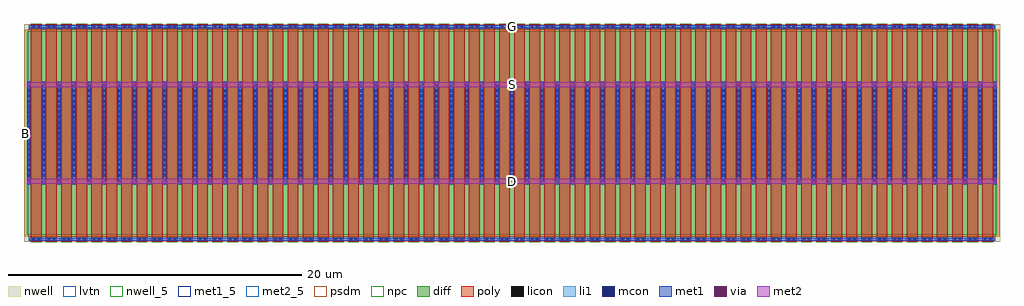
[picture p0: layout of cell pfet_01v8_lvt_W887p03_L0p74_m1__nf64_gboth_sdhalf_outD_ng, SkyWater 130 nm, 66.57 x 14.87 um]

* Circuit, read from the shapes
.subckt pfet_01v8_lvt_W887p03_L0p74_m1__nf64_gboth_sdhalf_outD_ng B D G S
XM1 S G D B sky130_fd_pr__pfet_01v8_lvt w=13.86 l=0.74 m=64
.ends

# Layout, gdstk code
import gdstk
lib = gdstk.Library(unit=1e-6, precision=1e-09)
def R(c, l, rs):  # rectangles x0, y0, x1, y1
    for r in rs: c.add(gdstk.rectangle(r[:2], r[2:], *l))
def A(c, l, x, y, w, h, nx, ny, dx, dy):  # array of equal rectangles
    R(c, l, [(x+i*dx, y+j*dy, x+i*dx+w, y+j*dy+h) for i in range(nx) for j in range(ny)])
nwell_5 = (64, 5)
nwell = (64, 20)
diff = (65, 20)
poly = (66, 20)
licon = (66, 44)
li1 = (67, 20)
mcon = (67, 44)
met1_5 = (68, 5)
met1 = (68, 20)
via = (68, 44)
met2_5 = (69, 5)
met2 = (69, 20)
psdm = (94, 20)
npc = (95, 20)
lvtn = (125, 44)

sky130_fd_pr__pfet_01v8_ = lib.new_cell('sky130_fd_pr__pfet_01v8_lvt_FBBMK9')
R(sky130_fd_pr__pfet_01v8_, nwell, [(-33.285,-7.43,33.285,7.43)])
R(sky130_fd_pr__pfet_01v8_, diff, [(-33.105,-6.93,33.105,6.93)])
A(sky130_fd_pr__pfet_01v8_, poly, -32.815, -7.415, 0.74, 14.83, 64, 1, 1.03, 0)
A(sky130_fd_pr__pfet_01v8_, licon, -33.045, -3.315, 0.17, 0.17, 65, 20, 1.03, 0.34)
R(sky130_fd_pr__pfet_01v8_, licon, [(-32.7,-7.335,-32.53,-7.165), (-32.36,-7.335,-32.19,-7.165), (-31.67,-7.335,-31.5,-7.165), (-31.33,-7.335,-31.16,-7.165), (-30.64,-7.335,-30.47,-7.165), (-30.3,-7.335,-30.13,-7.165), (-29.61,-7.335,-29.44,-7.165), (-29.27,-7.335,-29.1,-7.165), (-28.58,-7.335,-28.41,-7.165), (-28.24,-7.335,-28.07,-7.165), (-27.55,-7.335,-27.38,-7.165), (-27.21,-7.335,-27.04,-7.165), (-26.52,-7.335,-26.35,-7.165), (-26.18,-7.335,-26.01,-7.165), (-25.49,-7.335,-25.32,-7.165), (-25.15,-7.335,-24.98,-7.165), (-24.46,-7.335,-24.29,-7.165), (-24.12,-7.335,-23.95,-7.165), (-23.43,-7.335,-23.26,-7.165), (-23.09,-7.335,-22.92,-7.165), (-22.4,-7.335,-22.23,-7.165), (-22.06,-7.335,-21.89,-7.165), (-21.37,-7.335,-21.2,-7.165), (-21.03,-7.335,-20.86,-7.165), (-20.34,-7.335,-20.17,-7.165), (-20,-7.335,-19.83,-7.165), (-19.31,-7.335,-19.14,-7.165), (-18.97,-7.335,-18.8,-7.165), (-18.28,-7.335,-18.11,-7.165), (-17.94,-7.335,-17.77,-7.165), (-17.25,-7.335,-17.08,-7.165), (-16.91,-7.335,-16.74,-7.165), (-16.22,-7.335,-16.05,-7.165), (-15.88,-7.335,-15.71,-7.165), (-15.19,-7.335,-15.02,-7.165), (-14.85,-7.335,-14.68,-7.165), (-14.16,-7.335,-13.99,-7.165), (-13.82,-7.335,-13.65,-7.165), (-13.13,-7.335,-12.96,-7.165), (-12.79,-7.335,-12.62,-7.165), (-12.1,-7.335,-11.93,-7.165), (-11.76,-7.335,-11.59,-7.165), (-11.07,-7.335,-10.9,-7.165), (-10.73,-7.335,-10.56,-7.165), (-10.04,-7.335,-9.87,-7.165), (-9.7,-7.335,-9.53,-7.165), (-9.01,-7.335,-8.84,-7.165), (-8.67,-7.335,-8.5,-7.165), (-7.98,-7.335,-7.81,-7.165), (-7.64,-7.335,-7.47,-7.165), (-6.95,-7.335,-6.78,-7.165), (-6.61,-7.335,-6.44,-7.165), (-5.92,-7.335,-5.75,-7.165), (-5.58,-7.335,-5.41,-7.165), (-4.89,-7.335,-4.72,-7.165), (-4.55,-7.335,-4.38,-7.165), (-3.86,-7.335,-3.69,-7.165), (-3.52,-7.335,-3.35,-7.165), (-2.83,-7.335,-2.66,-7.165), (-2.49,-7.335,-2.32,-7.165), (-1.8,-7.335,-1.63,-7.165), (-1.46,-7.335,-1.29,-7.165), (-0.77,-7.335,-0.6,-7.165), (-0.43,-7.335,-0.26,-7.165), (0.26,-7.335,0.43,-7.165), (0.6,-7.335,0.77,-7.165), (1.29,-7.335,1.46,-7.165), (1.63,-7.335,1.8,-7.165), (2.32,-7.335,2.49,-7.165), (2.66,-7.335,2.83,-7.165), (3.35,-7.335,3.52,-7.165), (3.69,-7.335,3.86,-7.165), (4.38,-7.335,4.55,-7.165), (4.72,-7.335,4.89,-7.165), (5.41,-7.335,5.58,-7.165), (5.75,-7.335,5.92,-7.165), (6.44,-7.335,6.61,-7.165), (6.78,-7.335,6.95,-7.165), (7.47,-7.335,7.64,-7.165), (7.81,-7.335,7.98,-7.165), (8.5,-7.335,8.67,-7.165), (8.84,-7.335,9.01,-7.165), (9.53,-7.335,9.7,-7.165), (9.87,-7.335,10.04,-7.165), (10.56,-7.335,10.73,-7.165), (10.9,-7.335,11.07,-7.165), (11.59,-7.335,11.76,-7.165), (11.93,-7.335,12.1,-7.165), (12.62,-7.335,12.79,-7.165), (12.96,-7.335,13.13,-7.165), (13.65,-7.335,13.82,-7.165), (13.99,-7.335,14.16,-7.165), (14.68,-7.335,14.85,-7.165), (15.02,-7.335,15.19,-7.165), (15.71,-7.335,15.88,-7.165), (16.05,-7.335,16.22,-7.165), (16.74,-7.335,16.91,-7.165), (17.08,-7.335,17.25,-7.165), (17.77,-7.335,17.94,-7.165), (18.11,-7.335,18.28,-7.165), (18.8,-7.335,18.97,-7.165), (19.14,-7.335,19.31,-7.165), (19.83,-7.335,20,-7.165), (20.17,-7.335,20.34,-7.165), (20.86,-7.335,21.03,-7.165), (21.2,-7.335,21.37,-7.165), (21.89,-7.335,22.06,-7.165), (22.23,-7.335,22.4,-7.165), (22.92,-7.335,23.09,-7.165), (23.26,-7.335,23.43,-7.165), (23.95,-7.335,24.12,-7.165), (24.29,-7.335,24.46,-7.165), (24.98,-7.335,25.15,-7.165), (25.32,-7.335,25.49,-7.165), (26.01,-7.335,26.18,-7.165), (26.35,-7.335,26.52,-7.165), (27.04,-7.335,27.21,-7.165), (27.38,-7.335,27.55,-7.165), (28.07,-7.335,28.24,-7.165), (28.41,-7.335,28.58,-7.165), (29.1,-7.335,29.27,-7.165), (29.44,-7.335,29.61,-7.165), (30.13,-7.335,30.3,-7.165), (30.47,-7.335,30.64,-7.165), (31.16,-7.335,31.33,-7.165), (31.5,-7.335,31.67,-7.165), (32.19,-7.335,32.36,-7.165), (32.53,-7.335,32.7,-7.165), (-32.7,7.165,-32.53,7.335), (-32.36,7.165,-32.19,7.335), (-31.67,7.165,-31.5,7.335), (-31.33,7.165,-31.16,7.335), (-30.64,7.165,-30.47,7.335), (-30.3,7.165,-30.13,7.335), (-29.61,7.165,-29.44,7.335), (-29.27,7.165,-29.1,7.335), (-28.58,7.165,-28.41,7.335), (-28.24,7.165,-28.07,7.335), (-27.55,7.165,-27.38,7.335), (-27.21,7.165,-27.04,7.335), (-26.52,7.165,-26.35,7.335), (-26.18,7.165,-26.01,7.335), (-25.49,7.165,-25.32,7.335), (-25.15,7.165,-24.98,7.335), (-24.46,7.165,-24.29,7.335), (-24.12,7.165,-23.95,7.335), (-23.43,7.165,-23.26,7.335), (-23.09,7.165,-22.92,7.335), (-22.4,7.165,-22.23,7.335), (-22.06,7.165,-21.89,7.335), (-21.37,7.165,-21.2,7.335), (-21.03,7.165,-20.86,7.335), (-20.34,7.165,-20.17,7.335), (-20,7.165,-19.83,7.335), (-19.31,7.165,-19.14,7.335), (-18.97,7.165,-18.8,7.335), (-18.28,7.165,-18.11,7.335), (-17.94,7.165,-17.77,7.335), (-17.25,7.165,-17.08,7.335), (-16.91,7.165,-16.74,7.335), (-16.22,7.165,-16.05,7.335), (-15.88,7.165,-15.71,7.335), (-15.19,7.165,-15.02,7.335), (-14.85,7.165,-14.68,7.335), (-14.16,7.165,-13.99,7.335), (-13.82,7.165,-13.65,7.335), (-13.13,7.165,-12.96,7.335), (-12.79,7.165,-12.62,7.335), (-12.1,7.165,-11.93,7.335), (-11.76,7.165,-11.59,7.335), (-11.07,7.165,-10.9,7.335), (-10.73,7.165,-10.56,7.335), (-10.04,7.165,-9.87,7.335), (-9.7,7.165,-9.53,7.335), (-9.01,7.165,-8.84,7.335), (-8.67,7.165,-8.5,7.335), (-7.98,7.165,-7.81,7.335), (-7.64,7.165,-7.47,7.335), (-6.95,7.165,-6.78,7.335), (-6.61,7.165,-6.44,7.335), (-5.92,7.165,-5.75,7.335), (-5.58,7.165,-5.41,7.335), (-4.89,7.165,-4.72,7.335), (-4.55,7.165,-4.38,7.335), (-3.86,7.165,-3.69,7.335), (-3.52,7.165,-3.35,7.335), (-2.83,7.165,-2.66,7.335), (-2.49,7.165,-2.32,7.335), (-1.8,7.165,-1.63,7.335), (-1.46,7.165,-1.29,7.335), (-0.77,7.165,-0.6,7.335), (-0.43,7.165,-0.26,7.335), (0.26,7.165,0.43,7.335), (0.6,7.165,0.77,7.335), (1.29,7.165,1.46,7.335), (1.63,7.165,1.8,7.335), (2.32,7.165,2.49,7.335), (2.66,7.165,2.83,7.335), (3.35,7.165,3.52,7.335), (3.69,7.165,3.86,7.335), (4.38,7.165,4.55,7.335), (4.72,7.165,4.89,7.335), (5.41,7.165,5.58,7.335), (5.75,7.165,5.92,7.335), (6.44,7.165,6.61,7.335), (6.78,7.165,6.95,7.335), (7.47,7.165,7.64,7.335), (7.81,7.165,7.98,7.335), (8.5,7.165,8.67,7.335), (8.84,7.165,9.01,7.335), (9.53,7.165,9.7,7.335), (9.87,7.165,10.04,7.335), (10.56,7.165,10.73,7.335), (10.9,7.165,11.07,7.335), (11.59,7.165,11.76,7.335), (11.93,7.165,12.1,7.335), (12.62,7.165,12.79,7.335), (12.96,7.165,13.13,7.335), (13.65,7.165,13.82,7.335), (13.99,7.165,14.16,7.335), (14.68,7.165,14.85,7.335), (15.02,7.165,15.19,7.335), (15.71,7.165,15.88,7.335), (16.05,7.165,16.22,7.335), (16.74,7.165,16.91,7.335), (17.08,7.165,17.25,7.335), (17.77,7.165,17.94,7.335), (18.11,7.165,18.28,7.335), (18.8,7.165,18.97,7.335), (19.14,7.165,19.31,7.335), (19.83,7.165,20,7.335), (20.17,7.165,20.34,7.335), (20.86,7.165,21.03,7.335), (21.2,7.165,21.37,7.335), (21.89,7.165,22.06,7.335), (22.23,7.165,22.4,7.335), (22.92,7.165,23.09,7.335), (23.26,7.165,23.43,7.335), (23.95,7.165,24.12,7.335), (24.29,7.165,24.46,7.335), (24.98,7.165,25.15,7.335), (25.32,7.165,25.49,7.335), (26.01,7.165,26.18,7.335), (26.35,7.165,26.52,7.335), (27.04,7.165,27.21,7.335), (27.38,7.165,27.55,7.335), (28.07,7.165,28.24,7.335), (28.41,7.165,28.58,7.335), (29.1,7.165,29.27,7.335), (29.44,7.165,29.61,7.335), (30.13,7.165,30.3,7.335), (30.47,7.165,30.64,7.335), (31.16,7.165,31.33,7.335), (31.5,7.165,31.67,7.335), (32.19,7.165,32.36,7.335), (32.53,7.165,32.7,7.335)])
A(sky130_fd_pr__pfet_01v8_, li1, -33.045, -3.515, 0.17, 7.03, 65, 1, 1.03, 0)
R(sky130_fd_pr__pfet_01v8_, li1, [(-32.96,-7.335,32.96,-7.165), (-32.96,7.165,32.96,7.335)])
A(sky130_fd_pr__pfet_01v8_, mcon, -33.045, -3.325, 0.17, 0.17, 65, 19, 1.03, 0.36)
R(sky130_fd_pr__pfet_01v8_, mcon, [(-32.71,-7.335,-32.54,-7.165), (-32.35,-7.335,-32.18,-7.165), (-31.68,-7.335,-31.51,-7.165), (-31.32,-7.335,-31.15,-7.165), (-30.65,-7.335,-30.48,-7.165), (-30.29,-7.335,-30.12,-7.165), (-29.62,-7.335,-29.45,-7.165), (-29.26,-7.335,-29.09,-7.165), (-28.59,-7.335,-28.42,-7.165), (-28.23,-7.335,-28.06,-7.165), (-27.56,-7.335,-27.39,-7.165), (-27.2,-7.335,-27.03,-7.165), (-26.53,-7.335,-26.36,-7.165), (-26.17,-7.335,-26,-7.165), (-25.5,-7.335,-25.33,-7.165), (-25.14,-7.335,-24.97,-7.165), (-24.47,-7.335,-24.3,-7.165), (-24.11,-7.335,-23.94,-7.165), (-23.44,-7.335,-23.27,-7.165), (-23.08,-7.335,-22.91,-7.165), (-22.41,-7.335,-22.24,-7.165), (-22.05,-7.335,-21.88,-7.165), (-21.38,-7.335,-21.21,-7.165), (-21.02,-7.335,-20.85,-7.165), (-20.35,-7.335,-20.18,-7.165), (-19.99,-7.335,-19.82,-7.165), (-19.32,-7.335,-19.15,-7.165), (-18.96,-7.335,-18.79,-7.165), (-18.29,-7.335,-18.12,-7.165), (-17.93,-7.335,-17.76,-7.165), (-17.26,-7.335,-17.09,-7.165), (-16.9,-7.335,-16.73,-7.165), (-16.23,-7.335,-16.06,-7.165), (-15.87,-7.335,-15.7,-7.165), (-15.2,-7.335,-15.03,-7.165), (-14.84,-7.335,-14.67,-7.165), (-14.17,-7.335,-14,-7.165), (-13.81,-7.335,-13.64,-7.165), (-13.14,-7.335,-12.97,-7.165), (-12.78,-7.335,-12.61,-7.165), (-12.11,-7.335,-11.94,-7.165), (-11.75,-7.335,-11.58,-7.165), (-11.08,-7.335,-10.91,-7.165), (-10.72,-7.335,-10.55,-7.165), (-10.05,-7.335,-9.88,-7.165), (-9.69,-7.335,-9.52,-7.165), (-9.02,-7.335,-8.85,-7.165), (-8.66,-7.335,-8.49,-7.165), (-7.99,-7.335,-7.82,-7.165), (-7.63,-7.335,-7.46,-7.165), (-6.96,-7.335,-6.79,-7.165), (-6.6,-7.335,-6.43,-7.165), (-5.93,-7.335,-5.76,-7.165), (-5.57,-7.335,-5.4,-7.165), (-4.9,-7.335,-4.73,-7.165), (-4.54,-7.335,-4.37,-7.165), (-3.87,-7.335,-3.7,-7.165), (-3.51,-7.335,-3.34,-7.165), (-2.84,-7.335,-2.67,-7.165), (-2.48,-7.335,-2.31,-7.165), (-1.81,-7.335,-1.64,-7.165), (-1.45,-7.335,-1.28,-7.165), (-0.78,-7.335,-0.61,-7.165), (-0.42,-7.335,-0.25,-7.165), (0.25,-7.335,0.42,-7.165), (0.61,-7.335,0.78,-7.165), (1.28,-7.335,1.45,-7.165), (1.64,-7.335,1.81,-7.165), (2.31,-7.335,2.48,-7.165), (2.67,-7.335,2.84,-7.165), (3.34,-7.335,3.51,-7.165), (3.7,-7.335,3.87,-7.165), (4.37,-7.335,4.54,-7.165), (4.73,-7.335,4.9,-7.165), (5.4,-7.335,5.57,-7.165), (5.76,-7.335,5.93,-7.165), (6.43,-7.335,6.6,-7.165), (6.79,-7.335,6.96,-7.165), (7.46,-7.335,7.63,-7.165), (7.82,-7.335,7.99,-7.165), (8.49,-7.335,8.66,-7.165), (8.85,-7.335,9.02,-7.165), (9.52,-7.335,9.69,-7.165), (9.88,-7.335,10.05,-7.165), (10.55,-7.335,10.72,-7.165), (10.91,-7.335,11.08,-7.165), (11.58,-7.335,11.75,-7.165), (11.94,-7.335,12.11,-7.165), (12.61,-7.335,12.78,-7.165), (12.97,-7.335,13.14,-7.165), (13.64,-7.335,13.81,-7.165), (14,-7.335,14.17,-7.165), (14.67,-7.335,14.84,-7.165), (15.03,-7.335,15.2,-7.165), (15.7,-7.335,15.87,-7.165), (16.06,-7.335,16.23,-7.165), (16.73,-7.335,16.9,-7.165), (17.09,-7.335,17.26,-7.165), (17.76,-7.335,17.93,-7.165), (18.12,-7.335,18.29,-7.165), (18.79,-7.335,18.96,-7.165), (19.15,-7.335,19.32,-7.165), (19.82,-7.335,19.99,-7.165), (20.18,-7.335,20.35,-7.165), (20.85,-7.335,21.02,-7.165), (21.21,-7.335,21.38,-7.165), (21.88,-7.335,22.05,-7.165), (22.24,-7.335,22.41,-7.165), (22.91,-7.335,23.08,-7.165), (23.27,-7.335,23.44,-7.165), (23.94,-7.335,24.11,-7.165), (24.3,-7.335,24.47,-7.165), (24.97,-7.335,25.14,-7.165), (25.33,-7.335,25.5,-7.165), (26,-7.335,26.17,-7.165), (26.36,-7.335,26.53,-7.165), (27.03,-7.335,27.2,-7.165), (27.39,-7.335,27.56,-7.165), (28.06,-7.335,28.23,-7.165), (28.42,-7.335,28.59,-7.165), (29.09,-7.335,29.26,-7.165), (29.45,-7.335,29.62,-7.165), (30.12,-7.335,30.29,-7.165), (30.48,-7.335,30.65,-7.165), (31.15,-7.335,31.32,-7.165), (31.51,-7.335,31.68,-7.165), (32.18,-7.335,32.35,-7.165), (32.54,-7.335,32.71,-7.165), (-32.71,7.165,-32.54,7.335), (-32.35,7.165,-32.18,7.335), (-31.68,7.165,-31.51,7.335), (-31.32,7.165,-31.15,7.335), (-30.65,7.165,-30.48,7.335), (-30.29,7.165,-30.12,7.335), (-29.62,7.165,-29.45,7.335), (-29.26,7.165,-29.09,7.335), (-28.59,7.165,-28.42,7.335), (-28.23,7.165,-28.06,7.335), (-27.56,7.165,-27.39,7.335), (-27.2,7.165,-27.03,7.335), (-26.53,7.165,-26.36,7.335), (-26.17,7.165,-26,7.335), (-25.5,7.165,-25.33,7.335), (-25.14,7.165,-24.97,7.335), (-24.47,7.165,-24.3,7.335), (-24.11,7.165,-23.94,7.335), (-23.44,7.165,-23.27,7.335), (-23.08,7.165,-22.91,7.335), (-22.41,7.165,-22.24,7.335), (-22.05,7.165,-21.88,7.335), (-21.38,7.165,-21.21,7.335), (-21.02,7.165,-20.85,7.335), (-20.35,7.165,-20.18,7.335), (-19.99,7.165,-19.82,7.335), (-19.32,7.165,-19.15,7.335), (-18.96,7.165,-18.79,7.335), (-18.29,7.165,-18.12,7.335), (-17.93,7.165,-17.76,7.335), (-17.26,7.165,-17.09,7.335), (-16.9,7.165,-16.73,7.335), (-16.23,7.165,-16.06,7.335), (-15.87,7.165,-15.7,7.335), (-15.2,7.165,-15.03,7.335), (-14.84,7.165,-14.67,7.335), (-14.17,7.165,-14,7.335), (-13.81,7.165,-13.64,7.335), (-13.14,7.165,-12.97,7.335), (-12.78,7.165,-12.61,7.335), (-12.11,7.165,-11.94,7.335), (-11.75,7.165,-11.58,7.335), (-11.08,7.165,-10.91,7.335), (-10.72,7.165,-10.55,7.335), (-10.05,7.165,-9.88,7.335), (-9.69,7.165,-9.52,7.335), (-9.02,7.165,-8.85,7.335), (-8.66,7.165,-8.49,7.335), (-7.99,7.165,-7.82,7.335), (-7.63,7.165,-7.46,7.335), (-6.96,7.165,-6.79,7.335), (-6.6,7.165,-6.43,7.335), (-5.93,7.165,-5.76,7.335), (-5.57,7.165,-5.4,7.335), (-4.9,7.165,-4.73,7.335), (-4.54,7.165,-4.37,7.335), (-3.87,7.165,-3.7,7.335), (-3.51,7.165,-3.34,7.335), (-2.84,7.165,-2.67,7.335), (-2.48,7.165,-2.31,7.335), (-1.81,7.165,-1.64,7.335), (-1.45,7.165,-1.28,7.335), (-0.78,7.165,-0.61,7.335), (-0.42,7.165,-0.25,7.335), (0.25,7.165,0.42,7.335), (0.61,7.165,0.78,7.335), (1.28,7.165,1.45,7.335), (1.64,7.165,1.81,7.335), (2.31,7.165,2.48,7.335), (2.67,7.165,2.84,7.335), (3.34,7.165,3.51,7.335), (3.7,7.165,3.87,7.335), (4.37,7.165,4.54,7.335), (4.73,7.165,4.9,7.335), (5.4,7.165,5.57,7.335), (5.76,7.165,5.93,7.335), (6.43,7.165,6.6,7.335), (6.79,7.165,6.96,7.335), (7.46,7.165,7.63,7.335), (7.82,7.165,7.99,7.335), (8.49,7.165,8.66,7.335), (8.85,7.165,9.02,7.335), (9.52,7.165,9.69,7.335), (9.88,7.165,10.05,7.335), (10.55,7.165,10.72,7.335), (10.91,7.165,11.08,7.335), (11.58,7.165,11.75,7.335), (11.94,7.165,12.11,7.335), (12.61,7.165,12.78,7.335), (12.97,7.165,13.14,7.335), (13.64,7.165,13.81,7.335), (14,7.165,14.17,7.335), (14.67,7.165,14.84,7.335), (15.03,7.165,15.2,7.335), (15.7,7.165,15.87,7.335), (16.06,7.165,16.23,7.335), (16.73,7.165,16.9,7.335), (17.09,7.165,17.26,7.335), (17.76,7.165,17.93,7.335), (18.12,7.165,18.29,7.335), (18.79,7.165,18.96,7.335), (19.15,7.165,19.32,7.335), (19.82,7.165,19.99,7.335), (20.18,7.165,20.35,7.335), (20.85,7.165,21.02,7.335), (21.21,7.165,21.38,7.335), (21.88,7.165,22.05,7.335), (22.24,7.165,22.41,7.335), (22.91,7.165,23.08,7.335), (23.27,7.165,23.44,7.335), (23.94,7.165,24.11,7.335), (24.3,7.165,24.47,7.335), (24.97,7.165,25.14,7.335), (25.33,7.165,25.5,7.335), (26,7.165,26.17,7.335), (26.36,7.165,26.53,7.335), (27.03,7.165,27.2,7.335), (27.39,7.165,27.56,7.335), (28.06,7.165,28.23,7.335), (28.42,7.165,28.59,7.335), (29.09,7.165,29.26,7.335), (29.45,7.165,29.62,7.335), (30.12,7.165,30.29,7.335), (30.48,7.165,30.65,7.335), (31.15,7.165,31.32,7.335), (31.51,7.165,31.68,7.335), (32.18,7.165,32.35,7.335), (32.54,7.165,32.71,7.335)])
A(sky130_fd_pr__pfet_01v8_, met1, -32.795, -7.365, 0.7, 0.03, 64, 2, 1.03, 0.2)
A(sky130_fd_pr__pfet_01v8_, met1, -33.075, -3.495, 0.23, 6.99, 65, 1, 1.03, 0)
A(sky130_fd_pr__pfet_01v8_, met1, -32.795, 7.135, 0.7, 0.03, 64, 2, 1.03, 0.2)
R(sky130_fd_pr__pfet_01v8_, met1, [(-32.96,-7.335,32.96,-7.165), (-32.96,7.165,32.96,7.335)])
R(sky130_fd_pr__pfet_01v8_, psdm, [(-33.23,-7.055,33.23,7.055)])
A(sky130_fd_pr__pfet_01v8_, npc, -32.8, -7.435, 0.71, 0.37, 64, 2, 1.03, 14.5)
R(sky130_fd_pr__pfet_01v8_, lvtn, [(-32.995,-7.11,32.995,7.11)])
sky130_fd_pr__pfet_01v8_.add(gdstk.Label('D0', (-32.96,0), layer=67, texttype=5))
sky130_fd_pr__pfet_01v8_.add(gdstk.Label('G', (32.445,7.25), layer=67, texttype=5))
sky130_fd_pr__pfet_01v8_.add(gdstk.Label('G', (31.415,7.25), layer=67, texttype=5))
sky130_fd_pr__pfet_01v8_.add(gdstk.Label('G', (30.385,7.25), layer=67, texttype=5))
sky130_fd_pr__pfet_01v8_.add(gdstk.Label('G', (29.355,7.25), layer=67, texttype=5))
sky130_fd_pr__pfet_01v8_.add(gdstk.Label('G', (28.325,7.25), layer=67, texttype=5))
sky130_fd_pr__pfet_01v8_.add(gdstk.Label('G', (27.295,7.25), layer=67, texttype=5))
sky130_fd_pr__pfet_01v8_.add(gdstk.Label('G', (26.265,7.25), layer=67, texttype=5))
sky130_fd_pr__pfet_01v8_.add(gdstk.Label('G', (25.235,7.25), layer=67, texttype=5))
sky130_fd_pr__pfet_01v8_.add(gdstk.Label('G', (24.205,7.25), layer=67, texttype=5))
sky130_fd_pr__pfet_01v8_.add(gdstk.Label('G', (23.175,7.25), layer=67, texttype=5))
sky130_fd_pr__pfet_01v8_.add(gdstk.Label('G', (22.145,7.25), layer=67, texttype=5))
sky130_fd_pr__pfet_01v8_.add(gdstk.Label('G', (21.115,7.25), layer=67, texttype=5))
sky130_fd_pr__pfet_01v8_.add(gdstk.Label('G', (20.085,7.25), layer=67, texttype=5))
sky130_fd_pr__pfet_01v8_.add(gdstk.Label('G', (19.055,7.25), layer=67, texttype=5))
sky130_fd_pr__pfet_01v8_.add(gdstk.Label('G', (18.025,7.25), layer=67, texttype=5))
sky130_fd_pr__pfet_01v8_.add(gdstk.Label('G', (16.995,7.25), layer=67, texttype=5))
sky130_fd_pr__pfet_01v8_.add(gdstk.Label('G', (15.965,7.25), layer=67, texttype=5))
sky130_fd_pr__pfet_01v8_.add(gdstk.Label('G', (14.935,7.25), layer=67, texttype=5))
sky130_fd_pr__pfet_01v8_.add(gdstk.Label('G', (13.905,7.25), layer=67, texttype=5))
sky130_fd_pr__pfet_01v8_.add(gdstk.Label('G', (12.875,7.25), layer=67, texttype=5))
sky130_fd_pr__pfet_01v8_.add(gdstk.Label('G', (11.845,7.25), layer=67, texttype=5))
sky130_fd_pr__pfet_01v8_.add(gdstk.Label('G', (10.815,7.25), layer=67, texttype=5))
sky130_fd_pr__pfet_01v8_.add(gdstk.Label('G', (9.785,7.25), layer=67, texttype=5))
sky130_fd_pr__pfet_01v8_.add(gdstk.Label('G', (8.755,7.25), layer=67, texttype=5))
sky130_fd_pr__pfet_01v8_.add(gdstk.Label('G', (7.725,7.25), layer=67, texttype=5))
sky130_fd_pr__pfet_01v8_.add(gdstk.Label('G', (6.695,7.25), layer=67, texttype=5))
sky130_fd_pr__pfet_01v8_.add(gdstk.Label('G', (5.665,7.25), layer=67, texttype=5))
sky130_fd_pr__pfet_01v8_.add(gdstk.Label('G', (4.635,7.25), layer=67, texttype=5))
sky130_fd_pr__pfet_01v8_.add(gdstk.Label('G', (3.605,7.25), layer=67, texttype=5))
sky130_fd_pr__pfet_01v8_.add(gdstk.Label('G', (2.575,7.25), layer=67, texttype=5))
sky130_fd_pr__pfet_01v8_.add(gdstk.Label('G', (1.545,7.25), layer=67, texttype=5))
sky130_fd_pr__pfet_01v8_.add(gdstk.Label('G', (0.515,7.25), layer=67, texttype=5))
sky130_fd_pr__pfet_01v8_.add(gdstk.Label('G', (-0.515,7.25), layer=67, texttype=5))
sky130_fd_pr__pfet_01v8_.add(gdstk.Label('G', (-1.545,7.25), layer=67, texttype=5))
sky130_fd_pr__pfet_01v8_.add(gdstk.Label('G', (-2.575,7.25), layer=67, texttype=5))
sky130_fd_pr__pfet_01v8_.add(gdstk.Label('G', (-3.605,7.25), layer=67, texttype=5))
sky130_fd_pr__pfet_01v8_.add(gdstk.Label('G', (-4.635,7.25), layer=67, texttype=5))
sky130_fd_pr__pfet_01v8_.add(gdstk.Label('G', (-5.665,7.25), layer=67, texttype=5))
sky130_fd_pr__pfet_01v8_.add(gdstk.Label('G', (-6.695,7.25), layer=67, texttype=5))
sky130_fd_pr__pfet_01v8_.add(gdstk.Label('G', (-7.725,7.25), layer=67, texttype=5))
sky130_fd_pr__pfet_01v8_.add(gdstk.Label('G', (-8.755,7.25), layer=67, texttype=5))
sky130_fd_pr__pfet_01v8_.add(gdstk.Label('G', (-9.785,7.25), layer=67, texttype=5))
sky130_fd_pr__pfet_01v8_.add(gdstk.Label('G', (-10.815,7.25), layer=67, texttype=5))
sky130_fd_pr__pfet_01v8_.add(gdstk.Label('G', (-11.845,7.25), layer=67, texttype=5))
sky130_fd_pr__pfet_01v8_.add(gdstk.Label('G', (-12.875,7.25), layer=67, texttype=5))
sky130_fd_pr__pfet_01v8_.add(gdstk.Label('G', (-13.905,7.25), layer=67, texttype=5))
sky130_fd_pr__pfet_01v8_.add(gdstk.Label('G', (-14.935,7.25), layer=67, texttype=5))
sky130_fd_pr__pfet_01v8_.add(gdstk.Label('G', (-15.965,7.25), layer=67, texttype=5))
sky130_fd_pr__pfet_01v8_.add(gdstk.Label('G', (-16.995,7.25), layer=67, texttype=5))
sky130_fd_pr__pfet_01v8_.add(gdstk.Label('G', (-18.025,7.25), layer=67, texttype=5))
sky130_fd_pr__pfet_01v8_.add(gdstk.Label('G', (-19.055,7.25), layer=67, texttype=5))
sky130_fd_pr__pfet_01v8_.add(gdstk.Label('G', (-20.085,7.25), layer=67, texttype=5))
sky130_fd_pr__pfet_01v8_.add(gdstk.Label('G', (-21.115,7.25), layer=67, texttype=5))
sky130_fd_pr__pfet_01v8_.add(gdstk.Label('G', (-22.145,7.25), layer=67, texttype=5))
sky130_fd_pr__pfet_01v8_.add(gdstk.Label('G', (-23.175,7.25), layer=67, texttype=5))
sky130_fd_pr__pfet_01v8_.add(gdstk.Label('G', (-24.205,7.25), layer=67, texttype=5))
sky130_fd_pr__pfet_01v8_.add(gdstk.Label('G', (-25.235,7.25), layer=67, texttype=5))
sky130_fd_pr__pfet_01v8_.add(gdstk.Label('G', (-26.265,7.25), layer=67, texttype=5))
sky130_fd_pr__pfet_01v8_.add(gdstk.Label('G', (-27.295,7.25), layer=67, texttype=5))
sky130_fd_pr__pfet_01v8_.add(gdstk.Label('G', (-28.325,7.25), layer=67, texttype=5))
sky130_fd_pr__pfet_01v8_.add(gdstk.Label('G', (-29.355,7.25), layer=67, texttype=5))
sky130_fd_pr__pfet_01v8_.add(gdstk.Label('G', (-30.385,7.25), layer=67, texttype=5))
sky130_fd_pr__pfet_01v8_.add(gdstk.Label('G', (-31.415,7.25), layer=67, texttype=5))
sky130_fd_pr__pfet_01v8_.add(gdstk.Label('G', (-32.445,7.25), layer=67, texttype=5))
sky130_fd_pr__pfet_01v8_.add(gdstk.Label('S1', (-31.93,0), layer=67, texttype=5))
sky130_fd_pr__pfet_01v8_.add(gdstk.Label('D2', (-30.9,0), layer=67, texttype=5))
sky130_fd_pr__pfet_01v8_.add(gdstk.Label('S3', (-29.87,0), layer=67, texttype=5))
sky130_fd_pr__pfet_01v8_.add(gdstk.Label('D4', (-28.84,0), layer=67, texttype=5))
sky130_fd_pr__pfet_01v8_.add(gdstk.Label('S5', (-27.81,0), layer=67, texttype=5))
sky130_fd_pr__pfet_01v8_.add(gdstk.Label('D6', (-26.78,0), layer=67, texttype=5))
sky130_fd_pr__pfet_01v8_.add(gdstk.Label('S7', (-25.75,0), layer=67, texttype=5))
sky130_fd_pr__pfet_01v8_.add(gdstk.Label('D8', (-24.72,0), layer=67, texttype=5))
sky130_fd_pr__pfet_01v8_.add(gdstk.Label('S9', (-23.69,0), layer=67, texttype=5))
sky130_fd_pr__pfet_01v8_.add(gdstk.Label('D10', (-22.66,0), layer=67, texttype=5))
sky130_fd_pr__pfet_01v8_.add(gdstk.Label('S11', (-21.63,0), layer=67, texttype=5))
sky130_fd_pr__pfet_01v8_.add(gdstk.Label('D12', (-20.6,0), layer=67, texttype=5))
sky130_fd_pr__pfet_01v8_.add(gdstk.Label('S13', (-19.57,0), layer=67, texttype=5))
sky130_fd_pr__pfet_01v8_.add(gdstk.Label('D14', (-18.54,0), layer=67, texttype=5))
sky130_fd_pr__pfet_01v8_.add(gdstk.Label('S15', (-17.51,0), layer=67, texttype=5))
sky130_fd_pr__pfet_01v8_.add(gdstk.Label('D16', (-16.48,0), layer=67, texttype=5))
sky130_fd_pr__pfet_01v8_.add(gdstk.Label('S17', (-15.45,0), layer=67, texttype=5))
sky130_fd_pr__pfet_01v8_.add(gdstk.Label('D18', (-14.42,0), layer=67, texttype=5))
sky130_fd_pr__pfet_01v8_.add(gdstk.Label('S19', (-13.39,0), layer=67, texttype=5))
sky130_fd_pr__pfet_01v8_.add(gdstk.Label('D20', (-12.36,0), layer=67, texttype=5))
sky130_fd_pr__pfet_01v8_.add(gdstk.Label('S21', (-11.33,0), layer=67, texttype=5))
sky130_fd_pr__pfet_01v8_.add(gdstk.Label('D22', (-10.3,0), layer=67, texttype=5))
sky130_fd_pr__pfet_01v8_.add(gdstk.Label('S23', (-9.27,0), layer=67, texttype=5))
sky130_fd_pr__pfet_01v8_.add(gdstk.Label('D24', (-8.24,0), layer=67, texttype=5))
sky130_fd_pr__pfet_01v8_.add(gdstk.Label('S25', (-7.21,0), layer=67, texttype=5))
sky130_fd_pr__pfet_01v8_.add(gdstk.Label('D26', (-6.18,0), layer=67, texttype=5))
sky130_fd_pr__pfet_01v8_.add(gdstk.Label('S27', (-5.15,0), layer=67, texttype=5))
sky130_fd_pr__pfet_01v8_.add(gdstk.Label('D28', (-4.12,0), layer=67, texttype=5))
sky130_fd_pr__pfet_01v8_.add(gdstk.Label('S29', (-3.09,0), layer=67, texttype=5))
sky130_fd_pr__pfet_01v8_.add(gdstk.Label('D30', (-2.06,0), layer=67, texttype=5))
sky130_fd_pr__pfet_01v8_.add(gdstk.Label('S31', (-1.03,0), layer=67, texttype=5))
sky130_fd_pr__pfet_01v8_.add(gdstk.Label('D32', (0,0), layer=67, texttype=5))
sky130_fd_pr__pfet_01v8_.add(gdstk.Label('S33', (1.03,0), layer=67, texttype=5))
sky130_fd_pr__pfet_01v8_.add(gdstk.Label('D34', (2.06,0), layer=67, texttype=5))
sky130_fd_pr__pfet_01v8_.add(gdstk.Label('S35', (3.09,0), layer=67, texttype=5))
sky130_fd_pr__pfet_01v8_.add(gdstk.Label('D36', (4.12,0), layer=67, texttype=5))
sky130_fd_pr__pfet_01v8_.add(gdstk.Label('S37', (5.15,0), layer=67, texttype=5))
sky130_fd_pr__pfet_01v8_.add(gdstk.Label('D38', (6.18,0), layer=67, texttype=5))
sky130_fd_pr__pfet_01v8_.add(gdstk.Label('S39', (7.21,0), layer=67, texttype=5))
sky130_fd_pr__pfet_01v8_.add(gdstk.Label('D40', (8.24,0), layer=67, texttype=5))
sky130_fd_pr__pfet_01v8_.add(gdstk.Label('S41', (9.27,0), layer=67, texttype=5))
sky130_fd_pr__pfet_01v8_.add(gdstk.Label('D42', (10.3,0), layer=67, texttype=5))
sky130_fd_pr__pfet_01v8_.add(gdstk.Label('S43', (11.33,0), layer=67, texttype=5))
sky130_fd_pr__pfet_01v8_.add(gdstk.Label('D44', (12.36,0), layer=67, texttype=5))
sky130_fd_pr__pfet_01v8_.add(gdstk.Label('S45', (13.39,0), layer=67, texttype=5))
sky130_fd_pr__pfet_01v8_.add(gdstk.Label('D46', (14.42,0), layer=67, texttype=5))
sky130_fd_pr__pfet_01v8_.add(gdstk.Label('S47', (15.45,0), layer=67, texttype=5))
sky130_fd_pr__pfet_01v8_.add(gdstk.Label('D48', (16.48,0), layer=67, texttype=5))
sky130_fd_pr__pfet_01v8_.add(gdstk.Label('S49', (17.51,0), layer=67, texttype=5))
sky130_fd_pr__pfet_01v8_.add(gdstk.Label('D50', (18.54,0), layer=67, texttype=5))
sky130_fd_pr__pfet_01v8_.add(gdstk.Label('S51', (19.57,0), layer=67, texttype=5))
sky130_fd_pr__pfet_01v8_.add(gdstk.Label('D52', (20.6,0), layer=67, texttype=5))
sky130_fd_pr__pfet_01v8_.add(gdstk.Label('S53', (21.63,0), layer=67, texttype=5))
sky130_fd_pr__pfet_01v8_.add(gdstk.Label('D54', (22.66,0), layer=67, texttype=5))
sky130_fd_pr__pfet_01v8_.add(gdstk.Label('S55', (23.69,0), layer=67, texttype=5))
sky130_fd_pr__pfet_01v8_.add(gdstk.Label('D56', (24.72,0), layer=67, texttype=5))
sky130_fd_pr__pfet_01v8_.add(gdstk.Label('S57', (25.75,0), layer=67, texttype=5))
sky130_fd_pr__pfet_01v8_.add(gdstk.Label('D58', (26.78,0), layer=67, texttype=5))
sky130_fd_pr__pfet_01v8_.add(gdstk.Label('S59', (27.81,0), layer=67, texttype=5))
sky130_fd_pr__pfet_01v8_.add(gdstk.Label('D60', (28.84,0), layer=67, texttype=5))
sky130_fd_pr__pfet_01v8_.add(gdstk.Label('S61', (29.87,0), layer=67, texttype=5))
sky130_fd_pr__pfet_01v8_.add(gdstk.Label('D62', (30.9,0), layer=67, texttype=5))
sky130_fd_pr__pfet_01v8_.add(gdstk.Label('S63', (31.93,0), layer=67, texttype=5))

pfet_01v8_lvt_w887p03_l0 = lib.new_cell('pfet_01v8_lvt_W887p03_L0p74_m1__nf64_gboth_sdhalf_outD_ng')
R(pfet_01v8_lvt_w887p03_l0, nwell_5, [(0.05,7.38,0.15,7.48)])
R(pfet_01v8_lvt_w887p03_l0, nwell, [(0.05,7.38,0.15,7.48)])
R(pfet_01v8_lvt_w887p03_l0, met1_5, [(0.325,14.565,66.245,14.795)])
A(pfet_01v8_lvt_w887p03_l0, met1, 0.195, 3.985, 0.26, 0.32, 33, 1, 2.06, 0)
A(pfet_01v8_lvt_w887p03_l0, met1, 1.225, 10.555, 0.26, 0.32, 32, 1, 2.06, 0)
R(pfet_01v8_lvt_w887p03_l0, met1, [(0.325,14.565,66.245,14.795)])
A(pfet_01v8_lvt_w887p03_l0, via, 0.25, 4.07, 0.15, 0.15, 33, 1, 2.06, 0)
A(pfet_01v8_lvt_w887p03_l0, via, 1.28, 10.64, 0.15, 0.15, 32, 1, 2.06, 0)
R(pfet_01v8_lvt_w887p03_l0, met2_5, [(0.19,3.985,66.38,4.305), (0.19,10.555,66.38,10.875)])
R(pfet_01v8_lvt_w887p03_l0, met2, [(0.19,3.985,66.38,4.305), (0.19,10.555,66.38,10.875)])
pfet_01v8_lvt_w887p03_l0.add(gdstk.Reference(sky130_fd_pr__pfet_01v8_, (33.285,7.43)))
pfet_01v8_lvt_w887p03_l0.add(gdstk.Label('S', (33.285,10.715), layer=69, texttype=5))
pfet_01v8_lvt_w887p03_l0.add(gdstk.Label('D', (33.285,4.145), layer=69, texttype=5))
pfet_01v8_lvt_w887p03_l0.add(gdstk.Label('G', (33.285,14.68), layer=68, texttype=5))
pfet_01v8_lvt_w887p03_l0.add(gdstk.Label('B', (0.1,7.43), layer=64, texttype=5))

lib.write_gds('pfet_01v8_lvt_W887p03_L0p74_m1__nf64_gboth_sdhalf_outD_ng.gds')
